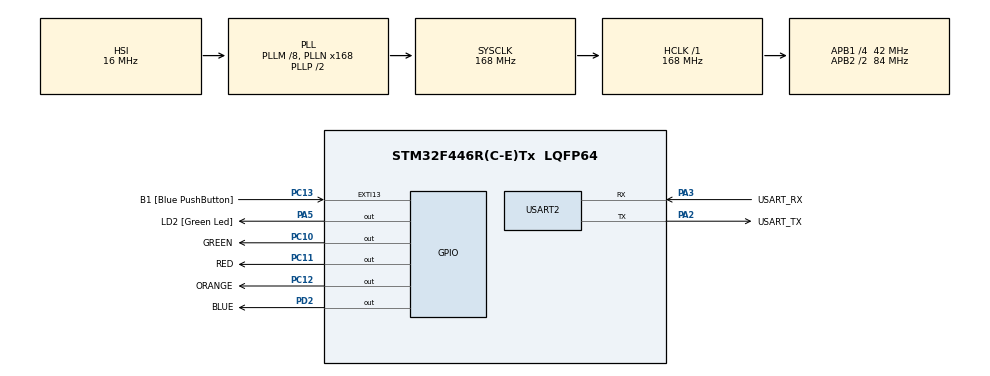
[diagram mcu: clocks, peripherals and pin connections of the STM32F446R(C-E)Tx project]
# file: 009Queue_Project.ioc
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Mcu.Family=STM32F4
Mcu.Name=STM32F446R(C-E)Tx
Mcu.Package=LQFP64
NVIC.PriorityGroup=NVIC_PRIORITYGROUP_4
NVIC.TIM6_DAC_IRQn=true\:0\:0\:false\:false\:true\:false\:true\:true
NVIC.TimeBase=TIM6_DAC_IRQn
NVIC.TimeBaseIP=TIM6
NVIC.USART2_IRQn=true\:6\:0\:true\:false\:true\:true\:true\:true
PA13.GPIO_Label=TMS
PA13.Signal=SYS_JTMS-SWDIO
PA14.GPIO_Label=TCK
PA14.Signal=SYS_JTCK-SWCLK
PA2.GPIO_Label=USART_TX
PA2.Mode=Asynchronous
PA2.Signal=USART2_TX
PA3.GPIO_Label=USART_RX
PA3.Mode=Asynchronous
PA3.Signal=USART2_RX
PA5.GPIO_Label=LD2 [Green Led]
PA5.Signal=GPIO_Output
PB3.GPIO_Label=SWO
PB3.Signal=SYS_JTDO-SWO
PC10.GPIO_Label=GREEN
PC10.Signal=GPIO_Output
PC11.GPIO_Label=RED
PC11.Signal=GPIO_Output
PC12.GPIO_Label=ORANGE
PC12.Signal=GPIO_Output
PC13.GPIO_Label=B1 [Blue PushButton]
PC13.GPIO_ModeDefaultEXTI=GPIO_MODE_IT_FALLING
PC13.Signal=GPXTI13
PC14-OSC32_IN.Signal=RCC_OSC32_IN
PC15-OSC32_OUT.Signal=RCC_OSC32_OUT
PD2.GPIO_Label=BLUE
PD2.Signal=GPIO_Output
PH0-OSC_IN.Signal=RCC_OSC_IN
PH1-OSC_OUT.Signal=RCC_OSC_OUT
ProjectManager.HeapSize=0x200
ProjectManager.StackSize=0x400
ProjectManager.TargetToolchain=STM32CubeIDE
RCC.AHBFreq_Value=168000000
RCC.APB1CLKDivider=RCC_HCLK_DIV4
RCC.APB1Freq_Value=42000000
RCC.APB1TimFreq_Value=84000000
RCC.APB2CLKDivider=RCC_HCLK_DIV2
RCC.APB2Freq_Value=84000000
RCC.APB2TimFreq_Value=168000000
RCC.CortexFreq_Value=168000000
RCC.FLatency-AdvancedSettings=FLASH_LATENCY_5
RCC.HCLKFreq_Value=168000000
RCC.HSE_VALUE=8000000
RCC.HSI_VALUE=16000000
RCC.LSE_VALUE=32768
RCC.PLLM=8
RCC.PLLN=168
RCC.SYSCLKFreq_VALUE=168000000
RCC.SYSCLKSource=RCC_SYSCLKSOURCE_PLLCLK
RCC.USBFreq_Value=168000000
RCC.VCOOutputFreq_Value=336000000
RTC.HourFormat=RTC_HOURFORMAT_12
USART2.VirtualMode=VM_ASYNC
VP_RTC_VS_RTC_Activate.Mode=RTC_Enabled
VP_SYS_VS_tim6.Mode=TIM6
board=NUCLEO-F446RE

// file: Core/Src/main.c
/* USER CODE BEGIN Header */
/**
  ******************************************************************************
  * @file           : main.c
  * @brief          : Main program body
  ******************************************************************************
  * @attention
  *
  * Copyright (c) 2025 STMicroelectronics.
  * All rights reserved.
  *
  * This software is licensed under terms that can be found in the LICENSE file
  * in the root directory of this software component.
  * If no LICENSE file comes with this software, it is provided AS-IS.
  *
  ******************************************************************************
  */
/* USER CODE END Header */
#include "main.h"

/* USER CODE BEGIN Includes */

#include "stdint.h"

/* USER CODE END Includes */

RTC_HandleTypeDef hrtc;

UART_HandleTypeDef huart2;

/* USER CODE BEGIN PV */

TaskHandle_t handle_menu_task;
TaskHandle_t handle_print_task;
TaskHandle_t handle_command_task;
TaskHandle_t handle_rtc_task;
TaskHandle_t handle_led_task;

QueueHandle_t input_data_queue;
QueueHandle_t print_queue;

state_t curr_state = sMainMenu;

uint8_t user_data;

TimerHandle_t handle_led_timer[4];
TimerHandle_t rtc_timer;

/* USER CODE END PV */

void SystemClock_Config(void);
static void MX_GPIO_Init(void);
static void MX_RTC_Init(void);
static void MX_USART2_UART_Init(void);
/* USER CODE BEGIN PFP */

void menu_task(void* parameters);
void command_task(void* parameters);
void print_task(void* parameters);
void rtc_task(void* parameters);
void led_task(void* parameters);
void led_effect_callback(TimerHandle_t xTimer);
void rtc_timer_callback(TimerHandle_t xTimer);

//extern void SEGGER_UART_init(U32 baud);
/* USER CODE END PFP */

int main(void)
{

  /* MCU Configuration--------------------------------------------------------*/

  /* Reset of all peripherals, Initializes the Flash interface and the Systick. */
  HAL_Init();

  /* Configure the system clock */
  SystemClock_Config();

  /* Initialize all configured peripherals */
  MX_GPIO_Init();
  MX_RTC_Init();
  MX_USART2_UART_Init();
  /* USER CODE BEGIN 2 */
  DWT->CYCCNT = 0; 		// Reset the cycle counter
  DWT->CTRL |= (1 << 0);

  //SEGGER_SYSVIEW_Conf();

  BaseType_t xReturn;

  xReturn = xTaskCreate(menu_task, "menu_task", 250, NULL, 2, &handle_menu_task);
  configASSERT(xReturn == pdPASS);

  xReturn = xTaskCreate(print_task, "print_task", 250, NULL, 2, &handle_print_task);
  configASSERT(xReturn == pdPASS);

  xReturn = xTaskCreate(command_task, "command_task", 250, NULL, 2, &handle_command_task);
  configASSERT(xReturn == pdPASS);

  xReturn = xTaskCreate(led_task, "led_task", 250, NULL, 2, &handle_led_task);
  configASSERT(xReturn == pdPASS);

  xReturn = xTaskCreate(rtc_task, "rtc_task", 250, NULL, 2, &handle_rtc_task);
  configASSERT(xReturn == pdPASS);

  input_data_queue = xQueueCreate(10, sizeof(char));
  configASSERT(input_data_queue != NULL);

  print_queue = xQueueCreate(10, sizeof(size_t)); //size of pointer
  configASSERT(print_queue != NULL);

  for(int i = 0; i < 4; i++)
  {
	 handle_led_timer[i] = xTimerCreate("led_timer", pdMS_TO_TICKS(500), pdTRUE, (void*)(i+1), led_effect_callback);
  }

  rtc_timer =  xTimerCreate("rtc_timer", pdMS_TO_TICKS(1000),pdTRUE, NULL, rtc_timer_callback);

  /*Enable the UART*/
  HAL_UART_Receive_IT(&huart2,&user_data, 1);

  vTaskStartScheduler();
  /* USER CODE END 2 */

  /* Infinite loop */
  while (1)
  {

  }
}

void SystemClock_Config(void)
{
  RCC_OscInitTypeDef RCC_OscInitStruct = {0};
  RCC_ClkInitTypeDef RCC_ClkInitStruct = {0};

  /** Configure the main internal regulator output voltage
  */
  __HAL_RCC_PWR_CLK_ENABLE();
  __HAL_PWR_VOLTAGESCALING_CONFIG(PWR_REGULATOR_VOLTAGE_SCALE1);

  /** Initializes the RCC Oscillators according to the specified parameters
  * in the RCC_OscInitTypeDef structure.
  */
  RCC_OscInitStruct.OscillatorType = RCC_OSCILLATORTYPE_HSI|RCC_OSCILLATORTYPE_LSI;
  RCC_OscInitStruct.LSEState = RCC_LSE_OFF;
  RCC_OscInitStruct.HSIState = RCC_HSI_ON;
  RCC_OscInitStruct.HSICalibrationValue = RCC_HSICALIBRATION_DEFAULT;
  RCC_OscInitStruct.LSIState = RCC_LSI_ON;
  RCC_OscInitStruct.PLL.PLLState = RCC_PLL_ON;
  RCC_OscInitStruct.PLL.PLLSource = RCC_PLLSOURCE_HSI;
  RCC_OscInitStruct.PLL.PLLM = 8;
  RCC_OscInitStruct.PLL.PLLN = 168;
  RCC_OscInitStruct.PLL.PLLP = RCC_PLLP_DIV2;
  RCC_OscInitStruct.PLL.PLLQ = 2;
  RCC_OscInitStruct.PLL.PLLR = 2;
  if (HAL_RCC_OscConfig(&RCC_OscInitStruct) != HAL_OK)
  {
    Error_Handler();
  }

  /** Initializes the CPU, AHB and APB buses clocks
  */
  RCC_ClkInitStruct.ClockType = RCC_CLOCKTYPE_HCLK|RCC_CLOCKTYPE_SYSCLK
                              |RCC_CLOCKTYPE_PCLK1|RCC_CLOCKTYPE_PCLK2;
  RCC_ClkInitStruct.SYSCLKSource = RCC_SYSCLKSOURCE_PLLCLK;
  RCC_ClkInitStruct.AHBCLKDivider = RCC_SYSCLK_DIV1;
  RCC_ClkInitStruct.APB1CLKDivider = RCC_HCLK_DIV4;
  RCC_ClkInitStruct.APB2CLKDivider = RCC_HCLK_DIV2;

  if (HAL_RCC_ClockConfig(&RCC_ClkInitStruct, FLASH_LATENCY_5) != HAL_OK)
  {
    Error_Handler();
  }
}

static void MX_RTC_Init(void)
{

  /** Initialize RTC Only
  */
  hrtc.Instance = RTC;
  hrtc.Init.HourFormat = RTC_HOURFORMAT_12;
  hrtc.Init.AsynchPrediv = 127;
  hrtc.Init.SynchPrediv = 255;
  hrtc.Init.OutPut = RTC_OUTPUT_DISABLE;
  hrtc.Init.OutPutPolarity = RTC_OUTPUT_POLARITY_HIGH;
  hrtc.Init.OutPutType = RTC_OUTPUT_TYPE_OPENDRAIN;
  if (HAL_RTC_Init(&hrtc) != HAL_OK)
  {
    Error_Handler();
  }

}

static void MX_USART2_UART_Init(void)
{

  huart2.Instance = USART2;
  huart2.Init.BaudRate = 115200;
  huart2.Init.WordLength = UART_WORDLENGTH_8B;
  huart2.Init.StopBits = UART_STOPBITS_1;
  huart2.Init.Parity = UART_PARITY_NONE;
  huart2.Init.Mode = UART_MODE_TX_RX;
  huart2.Init.HwFlowCtl = UART_HWCONTROL_NONE;
  huart2.Init.OverSampling = UART_OVERSAMPLING_16;
  if (HAL_UART_Init(&huart2) != HAL_OK)
  {
    Error_Handler();
  }

}

static void MX_GPIO_Init(void)
{
  GPIO_InitTypeDef GPIO_InitStruct = {0};

  /* GPIO Ports Clock Enable */
  __HAL_RCC_GPIOC_CLK_ENABLE();
  __HAL_RCC_GPIOH_CLK_ENABLE();
  __HAL_RCC_GPIOA_CLK_ENABLE();
  __HAL_RCC_GPIOD_CLK_ENABLE();
  __HAL_RCC_GPIOB_CLK_ENABLE();

  /*Configure GPIO pin Output Level */
  HAL_GPIO_WritePin(LD2_GPIO_Port, LD2_Pin, GPIO_PIN_RESET);

  /*Configure GPIO pin Output Level */
  HAL_GPIO_WritePin(GPIOC, GREEN_Pin|RED_Pin|ORANGE_Pin, GPIO_PIN_RESET);

  /*Configure GPIO pin Output Level */
  HAL_GPIO_WritePin(BLUE_GPIO_Port, BLUE_Pin, GPIO_PIN_RESET);

  /*Configure GPIO pin : B1_Pin */
  GPIO_InitStruct.Pin = B1_Pin;
  GPIO_InitStruct.Mode = GPIO_MODE_IT_FALLING;
  GPIO_InitStruct.Pull = GPIO_NOPULL;
  HAL_GPIO_Init(B1_GPIO_Port, &GPIO_InitStruct);

  /*Configure GPIO pin : LD2_Pin */
  GPIO_InitStruct.Pin = LD2_Pin;
  GPIO_InitStruct.Mode = GPIO_MODE_OUTPUT_PP;
  GPIO_InitStruct.Pull = GPIO_NOPULL;
  GPIO_InitStruct.Speed = GPIO_SPEED_FREQ_LOW;
  HAL_GPIO_Init(LD2_GPIO_Port, &GPIO_InitStruct);

  /*Configure GPIO pins : GREEN_Pin RED_Pin ORANGE_Pin */
  GPIO_InitStruct.Pin = GREEN_Pin|RED_Pin|ORANGE_Pin;
  GPIO_InitStruct.Mode = GPIO_MODE_OUTPUT_PP;
  GPIO_InitStruct.Pull = GPIO_NOPULL;
  GPIO_InitStruct.Speed = GPIO_SPEED_FREQ_LOW;
  HAL_GPIO_Init(GPIOC, &GPIO_InitStruct);

  /*Configure GPIO pin : BLUE_Pin */
  GPIO_InitStruct.Pin = BLUE_Pin;
  GPIO_InitStruct.Mode = GPIO_MODE_OUTPUT_PP;
  GPIO_InitStruct.Pull = GPIO_NOPULL;
  GPIO_InitStruct.Speed = GPIO_SPEED_FREQ_LOW;
  HAL_GPIO_Init(BLUE_GPIO_Port, &GPIO_InitStruct);

}

/* USER CODE BEGIN 4 */
void led_effect_callback(TimerHandle_t xTimer)
{
	uint32_t id;
	id = (uint32_t)pvTimerGetTimerID(xTimer);

	switch(id)
	{
	case 1:
		led_effect1();
		break;
	case 2:
		led_effect2();
		break;
	case 3:
		led_effect3();
		break;
	case 4:
		led_effect4();
		break;
	}
}

void rtc_timer_callback(TimerHandle_t xTimer)
{
	show_time_date_itm();
}

/*Whenever a data byte is received this callback is executed*/
void HAL_UART_RxCpltCallback(UART_HandleTypeDef *huart)
{
	uint8_t dummy;

	if(!xQueueIsQueueFullFromISR(input_data_queue))
	{
		xQueueSendFromISR(input_data_queue, (void*)&user_data, NULL);
	}else{
		/*Queue is full */

		/*Als de buffer vol zit dan wordt er gekeken of de laatste character een \n is,
		 * Als dat zo is wordt de head char vervangen met \n*/
		if(user_data == '\n')
		{
			/*user_data = '\n' */
			//make sure that last data byte of the queue is '\n' */
			xQueueReceiveFromISR(input_data_queue,(void*)&dummy, NULL);
			xQueueSendFromISR(input_data_queue, (void*)&user_data, NULL);
		}
	}

	//send notification to command handling task if user_data = '\n' */
	if(user_data == '\n')
	{
		xTaskNotifyFromISR(handle_command_task, 0, eNoAction, NULL);
	}
	//Enable interrupt UART data byte reception again in IT mode */
	HAL_UART_Receive_IT(&huart2, &user_data, 1);
}

/* USER CODE END 4 */

void HAL_TIM_PeriodElapsedCallback(TIM_HandleTypeDef *htim)
{
  if (htim->Instance == TIM6)
  {
    HAL_IncTick();
  }
}

void Error_Handler(void)
{
  __disable_irq();
  while (1)
  {
  }
}
